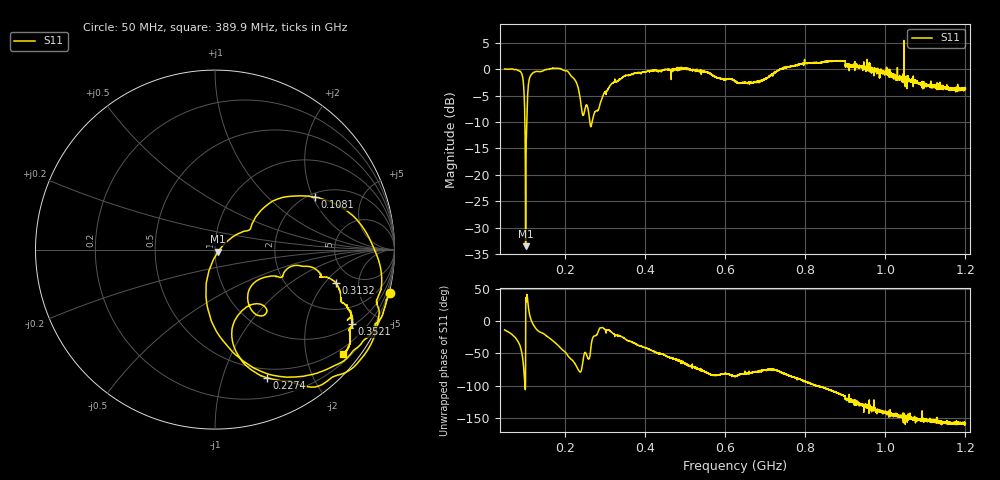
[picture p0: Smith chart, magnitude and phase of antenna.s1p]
! Calibrated high-resolution NanoVNA antenna measurement
# Hz S RI R 50
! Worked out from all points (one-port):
!   40001 points, 50 MHz to 1.2 GHz, reference 50 ohm
!   lowest |S11| = -33.5 dB at 102.4 MHz (marker M1), VSWR 1.04, Z = 51.7 - j1.27 ohm
!   |S11| at or under -10 dB: 100.6 MHz to 105.4 MHz (4.765 MHz wide, 4.63 % of centre); 262.7 MHz to 268.4 MHz (5.658 MHz wide, 2.13 % of centre)
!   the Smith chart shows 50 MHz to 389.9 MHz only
!   S11 on the Smith chart (normalised r, x): 50 MHz: -0.07, -8.22; 108.1 MHz: 2.13, +2.06; 227.4 MHz: 0.40, -1.41; 313.2 MHz: 3.61, -2.63; 352.1 MHz: 1.08, -3.65; 389.9 MHz: 0.36, -2.79
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5e7  0.9728 -0.2402
8.128e7  0.8498 -0.4902
9.324e7  0.5707 -0.6879
9.8185e7  0.1475 -0.6116
1.024112e8  0.0173 -0.0122
1.081325e8  0.555 0.2933
1.144862e8  0.8586 0.0659
1.238588e8  0.927 -0.1323
1.666388e8  0.8861 -0.4871
1.9375e8  0.7059 -0.6932
2.273588e8  0.2891 -0.7134
2.392325e8  0.0957 -0.4966
2.663438e8  0.2349 -0.1727
2.901488e8  0.4844 -0.0919
3.13235e8  0.6725 -0.187
3.375e8  0.7318 -0.3142
3.52105e8  0.7646 -0.4133
3.898825e8  0.7173 -0.5802
4.8125e8  0.4808 -0.8699
5.672125e8  0.0985 -0.8773
6.25e8  0.0563 -0.7635
7.207662e8  0.2263 -0.8903
7.6875e8  0.0631 -1.067
8.6857e8  -0.3727 -1.126
9.125e8  -0.5771 -0.9142
9.707762e8  -0.6832 -0.746
1.05625e9  -0.6807 -0.4063
1.2e9  -0.6101 -0.2519
